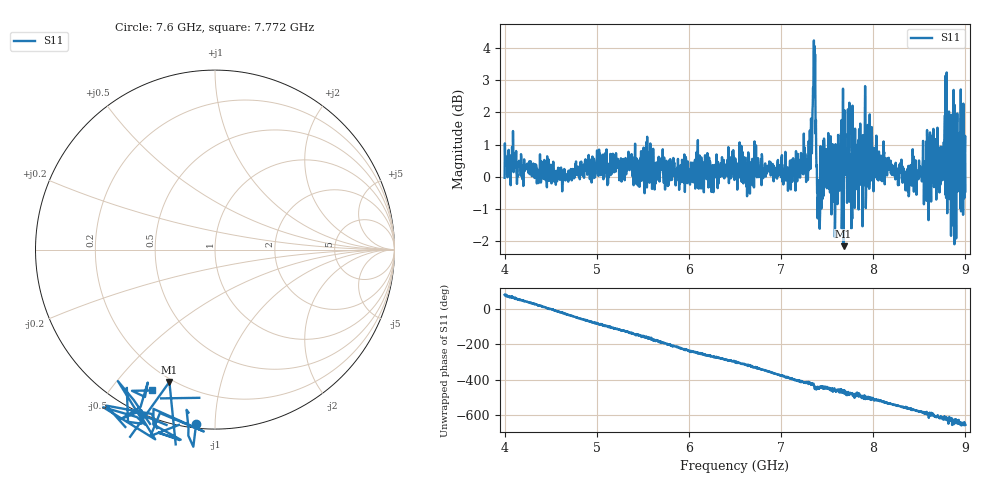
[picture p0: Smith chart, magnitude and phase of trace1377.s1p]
! Created with skrf 1.8.0 (http://scikit-rf.org).
# Hz S RI R 50.0
!freq ReS11 ImS11
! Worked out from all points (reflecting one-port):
!   1601 points, 4 GHz to 9 GHz, reference 50 ohm
!   lowest |S11| = -2.2 dB at 7.678 GHz (marker M1), VSWR 8.09, Z = 9.25 - j34.8 ohm
!   phase of S11 starts at 80 deg and turns -734 deg over the sweep
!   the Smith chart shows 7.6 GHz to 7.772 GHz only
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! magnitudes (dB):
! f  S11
! 4 GHz  0.0
! 4.1 GHz  0.5
! 4.625 GHz  -0.5
! 5.25 GHz  0.3
! 5.875 GHz  0.3
! 6.5 GHz  0.2
! 7.125 GHz  0.4
! 7.294 GHz  0.3
! 7.35 GHz  2.5
! 7.369 GHz  3.8
! 7.4 GHz  -0.6
! 7.412 GHz  -0.7
! 7.478 GHz  0.5
! 7.591 GHz  1.0
! 7.678 GHz  -2.2
! 7.75 GHz  0.4
! 7.788 GHz  0.4
! 7.8 GHz  -1.0
! 7.962 GHz  1.9
! 7.981 GHz  -0.1
! 8.375 GHz  -0.3
! 8.612 GHz  1.1
! 8.666 GHz  0.4
! 8.725 GHz  0.7
! 8.797 GHz  3.2
! 8.875 GHz  0.5
! 8.972 GHz  1.0
! 9 GHz  -0.5
